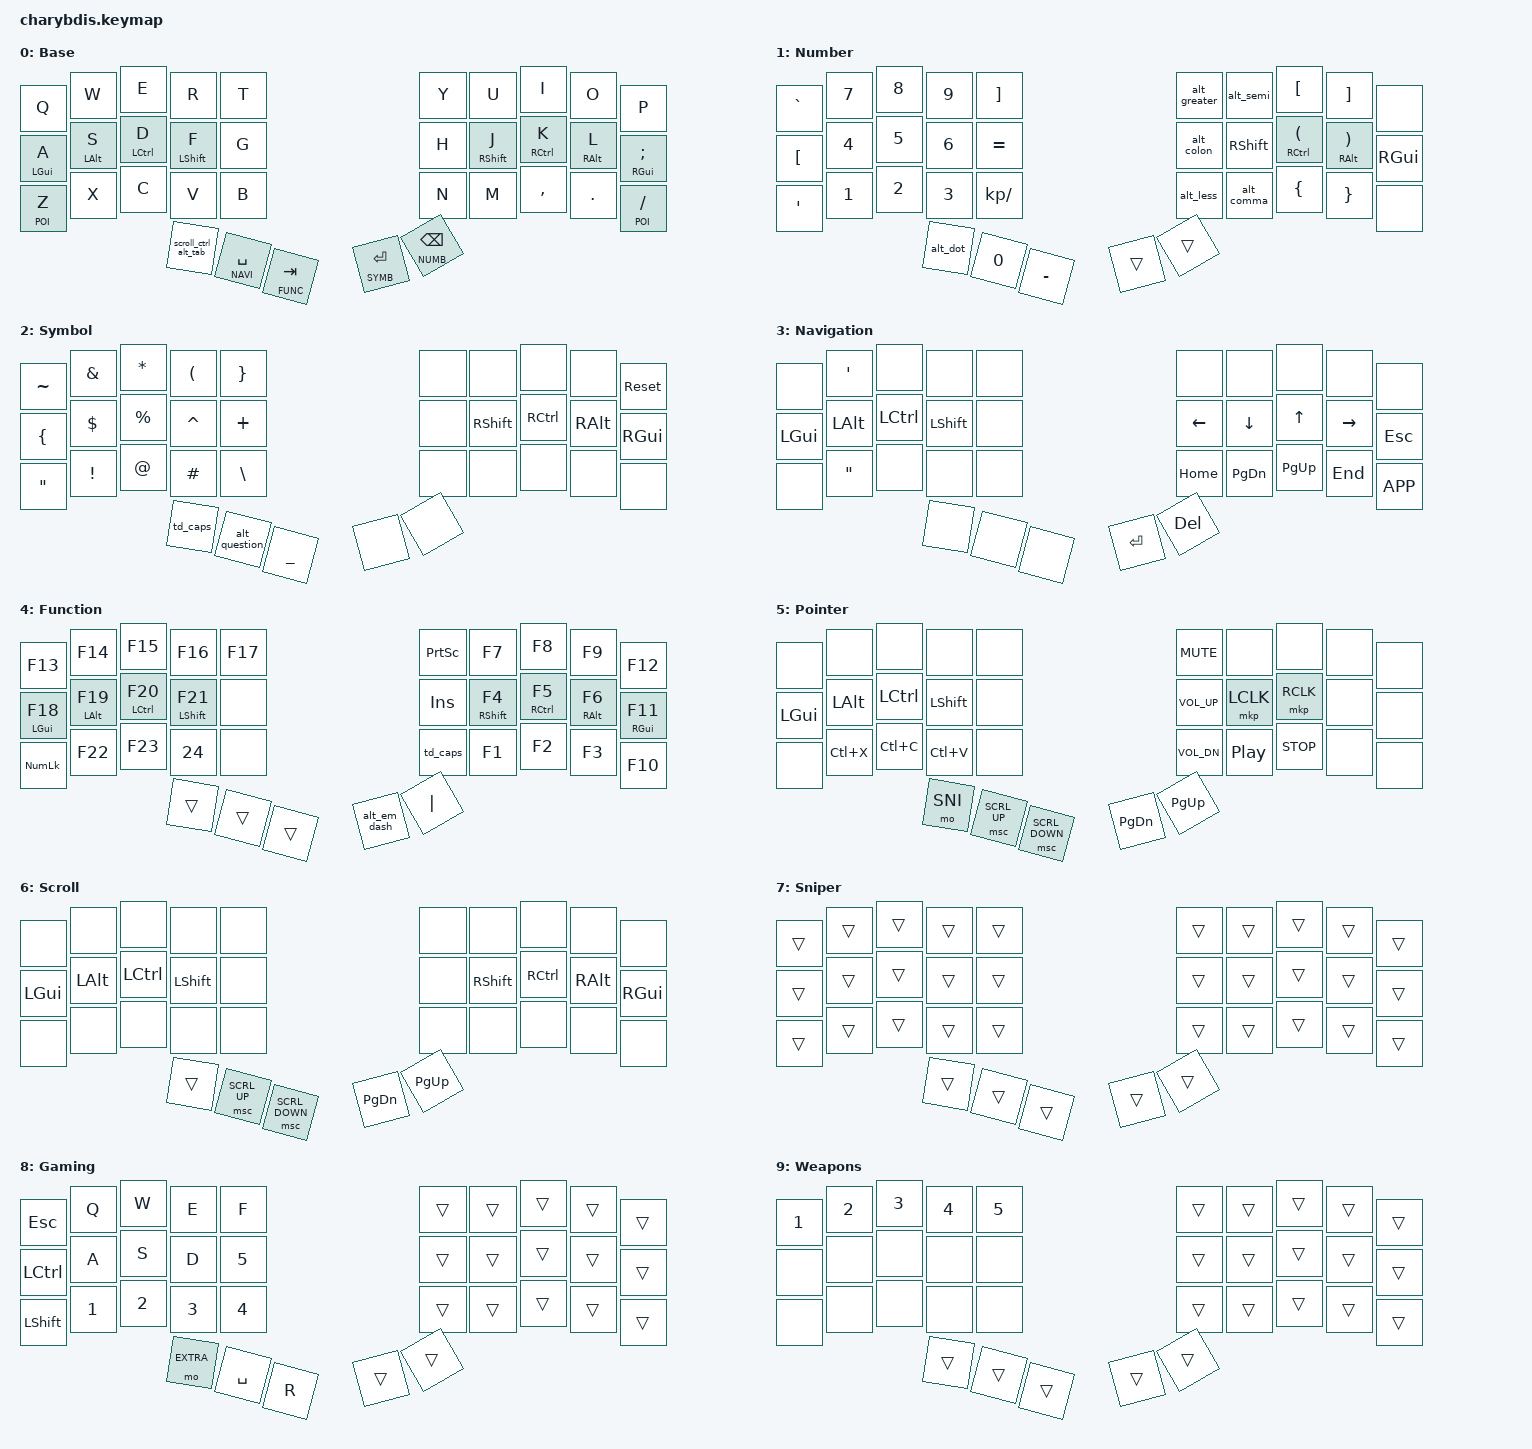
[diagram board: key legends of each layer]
#include <dt-bindings/zmk/mouse.h>
#include <behaviors/mouse_keys.dtsi>
#include <behaviors.dtsi>
#include <dt-bindings/zmk/bt.h>
#include <dt-bindings/zmk/keys.h>
#include <dt-bindings/zmk/outputs.h>
#include <dt-bindings/zmk/mouse.h>
#include <behaviors/mouse_keys.dtsi>
#include <behaviors.dtsi>
#include <dt-bindings/zmk/bt.h>
#include <dt-bindings/zmk/keys.h>
#include <dt-bindings/zmk/outputs.h>
#include <dt-bindings/zmk/pointing.h>

/ {
    chosen { zmk,physical-layout = &charybdis_5col_layout; };
};

&mt {
    quick-tap-ms = <200>;
    flavor = "tap-preferred";
    tapping-term-ms = <150>;
};

&lt {
    quick-tap-ms = <200>;
    flavor = "tap-preferred";
    tapping-term-ms = <150>;
};

// Layer definitions
#define BASE 0
#define NUMB 1
#define SYMB 2
#define NAVI 3
#define FUNC 4
#define POI  5
#define SCR  6
#define SNI  7
#define GAME  8
#define EXTRA 9

/ {
  macros {
    ctrl_cmd_hold: ctrl_cmd_hold {
      compatible = "zmk,behavior-macro";
      wait-ms = <0>;
      tap-ms = <10>;
      #binding-cells = <0>;
      bindings
        = <&macro_press &kp LCTRL &kp LGUI &mkp LCLK>
        , <&macro_pause_for_release>
        , <&macro_release &mkp LCLK &kp LCTRL &kp LGUI>
        ;
    };

    alt_dot: alt_dot {
      compatible = "zmk,behavior-macro";
      #binding-cells = <0>;
      wait-ms = <30>;
      tap-ms = <10>;
      bindings
        = <&macro_press &kp LALT>
        , <&macro_tap &kp KP_N0 &kp KP_N0 &kp KP_N4 &kp KP_N6>
        , <&macro_release &kp LALT>
        ;
    };

    alt_bslh: alt_bslh {
      compatible = "zmk,behavior-macro";
      #binding-cells = <0>;
      wait-ms = <30>;
      tap-ms = <10>;
      bindings
        = <&macro_press &kp LALT>
        , <&macro_tap &kp KP_N0 &kp KP_N0 &kp KP_N9 &kp KP_N2>
        , <&macro_release &kp LALT>
        ;
    };

    alt_colon: alt_colon {
      compatible = "zmk,behavior-macro";
      #binding-cells = <0>;
      wait-ms = <30>;
      tap-ms = <10>;
      bindings
        = <&macro_press &kp LALT>
        , <&macro_tap &kp KP_N0 &kp KP_N0 &kp KP_N5 &kp KP_N8>
        , <&macro_release &kp LALT>
        ;
    };

    alt_semi: alt_semi {
      compatible = "zmk,behavior-macro";
      #binding-cells = <0>;
      wait-ms = <30>;
      tap-ms = <10>;
      bindings
        = <&macro_press &kp LALT>
        , <&macro_tap &kp KP_N0 &kp KP_N0 &kp KP_N5 &kp KP_N9>
        , <&macro_release &kp LALT>
        ;
    };
alt_comma: alt_comma {
    compatible = "zmk,behavior-macro";
    #binding-cells = <0>;
    wait-ms = <30>;
    tap-ms = <10>;
    bindings
        = <&macro_press &kp LALT>
        , <&macro_tap &kp KP_N0 &kp KP_N0 &kp KP_N4 &kp KP_N4>
        , <&macro_release &kp LALT>
        ;
};


alt_quote: alt_quote {
    compatible = "zmk,behavior-macro";
    #binding-cells = <0>;
    wait-ms = <30>;
    tap-ms = <10>;
    bindings
        = <&macro_press &kp LALT>
        , <&macro_tap &kp KP_N3 &kp KP_N4>
        , <&macro_release &kp LALT>
        ;
};

alt_laquo: alt_laquo {
    compatible = "zmk,behavior-macro";
    #binding-cells = <0>;
    wait-ms = <30>;
    tap-ms = <10>;
    bindings
        = <&macro_press &kp LALT>
        , <&macro_tap &kp KP_N0 &kp KP_N1 &kp KP_N7 &kp KP_N1>
        , <&macro_release &kp LALT>
        ;
};

alt_raquo: alt_raquo {
    compatible = "zmk,behavior-macro";
    #binding-cells = <0>;
    wait-ms = <30>;
    tap-ms = <10>;
    bindings
        = <&macro_press &kp LALT>
        , <&macro_tap &kp KP_N0 &kp KP_N1 &kp KP_N8 &kp KP_N7>
        , <&macro_release &kp LALT>
        ;
};

alt_question: alt_question {
    compatible = "zmk,behavior-macro";
    #binding-cells = <0>;
    wait-ms = <30>;
    tap-ms = <10>;
    bindings
        = <&macro_press &kp LALT>
        , <&macro_tap &kp KP_N0 &kp KP_N0 &kp KP_N6 &kp KP_N3>
        , <&macro_release &kp LALT>
        ;
};

alt_doublequote: alt_doublequote {
    compatible = "zmk,behavior-macro";
    #binding-cells = <0>;
    wait-ms = <30>;
    tap-ms = <10>;
    bindings
        = <&macro_press &kp LALT>
        , <&macro_tap &kp KP_N0 &kp KP_N0 &kp KP_N3 &kp KP_N4>
        , <&macro_release &kp LALT>
        ;
};

alt_less: alt_less {
    compatible = "zmk,behavior-macro";
    #binding-cells = <0>;
    wait-ms = <30>;
    tap-ms = <10>;
    bindings
        = <&macro_press &kp LALT>
        , <&macro_tap &kp KP_N0 &kp KP_N0 &kp KP_N6 &kp KP_N0>
        , <&macro_release &kp LALT>
        ;
};

alt_greater: alt_greater {
    compatible = "zmk,behavior-macro";
    #binding-cells = <0>;
    wait-ms = <30>;
    tap-ms = <10>;
    bindings
        = <&macro_press &kp LALT>
        , <&macro_tap &kp KP_N0 &kp KP_N0 &kp KP_N6 &kp KP_N2>
        , <&macro_release &kp LALT>
        ;
};

    apostrophe: apostrophe {
     compatible = "zmk,behavior-macro";
     #binding-cells = <0>;
     wait-ms = <30>;
     tap-ms = <10>;
     bindings
         = <&macro_press &kp LALT>
         , <&macro_tap &kp KP_N3 &kp KP_N9>
         , <&macro_release &kp LALT>
         ;
 };
    alt_em_dash: alt_em_dash {
      compatible = "zmk,behavior-macro";
      #binding-cells = <0>;
      wait-ms = <30>;
      tap-ms = <10>;
      bindings
          = <&macro_press &kp LALT>
          , <&macro_tap &kp KP_N0 &kp KP_N1 &kp KP_N5 &kp KP_N1>
          , <&macro_release &kp LALT>
          ;
};
};

 behaviors {
    blt: blt {
      compatible = "zmk,behavior-hold-tap";
      #binding-cells = <2>;
      flavor = "tap-preferred";
      tapping-term-ms = <150>;
      quick-tap-ms = <300>;
      require-prior-idle-ms = <100>;
      bindings = <&mo>, <&kp>;
    };

    gui_ctrlb: gui_ctrlb {
      compatible = "zmk,behavior-tap-dance";
      #binding-cells = <0>;
      tapping-term-ms = <200>;
      bindings = <&kp LGUI>, <&kp LC(B)>;
    };

    lalt_dt: lalt_dt {
      compatible = "zmk,behavior-tap-dance";
      #binding-cells = <0>;
      tapping-term-ms = <200>;
      bindings = <&kp LALT>, <&kp LC(LS(Z))>;
    };

    // Home row mods - Left hand
    hml: home_row_mod_left {
      compatible = "zmk,behavior-hold-tap";
      #binding-cells = <2>;
      flavor = "tap-preferred";
      require-prior-idle-ms = <150>;
      tapping-term-ms = <150>;
      quick-tap-ms = <175>;
      bindings = <&kp>, <&kp>;
      hold-trigger-key-positions = <5 6 7 8 9 15 16 17 18 19 25 26 27 28 29 33 34>;
      hold-trigger-on-release;
    };

    // Home row mods - Right hand
    hmr: home_row_mod_right {
      compatible = "zmk,behavior-hold-tap";
      #binding-cells = <2>;
      flavor = "tap-preferred";
      require-prior-idle-ms = <150>;
      tapping-term-ms = <150>;
      quick-tap-ms = <175>;
      bindings = <&kp>, <&kp>;
      hold-trigger-key-positions = <0 1 2 3 4 10 11 12 13 14 20 21 22 23 24 30 31 32>;
      hold-trigger-on-release;
    };

    mo_tog: mo_tog {
      compatible = "zmk,behavior-hold-tap";
      #binding-cells = <2>;
      flavor = "tap-preferred";
      tapping-term-ms = <150>;
      bindings = <&mo>, <&tog>;
    };

 scroll_ctrl_alt_tab: scroll_ctrl_alt_tab {
  compatible = "zmk,behavior-mod-morph";
  #binding-cells = <0>;
  bindings = <&mo_tog SCR SCR>, <&kp LS(TAB)>;
  mods = <(MOD_LCTL|MOD_RCTL|MOD_LALT|MOD_RALT)>;
  keep-mods = <(MOD_LCTL|MOD_RCTL|MOD_LALT|MOD_RALT)>;
};

td_caps: tap_dance_caps {
            compatible = "zmk,behavior-tap-dance";
            #binding-cells = <0>;
            tapping-term-ms = <200>;
            bindings = <&kp CAPS>, <&caps_word>;
        };

 };
   
   combos {
    compatible = "zmk,combos";
    timeout-ms = <20>;
    require-prior-idle-ms = <250>;

    combo_l_clk {
      key-positions = <11 12>;
      bindings = <&mkp LCLK>;
      layers = <BASE>;
    };

    combo_r_clk {
      key-positions = <21 22>;
      bindings = <&mkp RCLK>;
      layers = <BASE>;
    };


    combo_new_window {
      key-positions = <7 8>;
      bindings = <&kp LG(E)>;
      layers = <BASE SCR>;
    };

    combo_close_1 {
      key-positions = <20 21>;
      bindings = <&kp LA(F4)>;
      layers = <BASE NAVI>;
    };

    combo_close_2 {
      key-positions = <28 29>;
      bindings = <&kp LA(F4)>;
      layers = <BASE NAVI>;
    };

    combo_back {
      key-positions = <17 18>;
      bindings = <&kp LA(LEFT)>;
      layers = <NAVI>;
    };

    combo_up_folder {
      key-positions = <27 28>;
      bindings = <&kp LA(UP)>;
      layers = <NAVI>;
    };


    combo_unlock {
      key-positions = <0 4>;
      bindings = <&studio_unlock>;
      layers = <BASE>;
    };

    combo_del {
      key-positions = <23 24>;
      bindings = <&kp DEL>;
      layers = <BASE>;
    };

    combo_alt_doublequote {
      key-positions = <27 28>;
      bindings = <&alt_doublequote>;
      layers = <BASE>;
    };

    combo_apostrophe {
      key-positions = <1 2>;
      bindings = <&apostrophe>;
      layers = <BASE>;
    };

    combo_languge {
      key-positions = <13 16>;
      bindings = <&kp LG(SPACE)>;
      layers = <BASE>;
      require-prior-idle-ms = <250>;
    };

    combo_esc {
       timeout-ms = <40>;
       key-positions = <23 24>;
       bindings = <&kp ESC>;
       layers = <GAME>;           
    };

     combo_f5 {
         timeout-ms = <40>;
         key-positions = <1 2>;
         bindings = <&kp F5>;
         layers = <GAME>;          
     };

     combo_f6 {
         timeout-ms = <40>;
         key-positions = <21 22>;
         bindings = <&kp F6>;
         layers = <GAME>;     
      };

 combo_game_on {
        timeout-ms = <40>;
        key-positions = <0 4>;
        bindings = <&tog GAME>;
        layers = <NUMB>;
    };

    combo_game_off {
        timeout-ms = <40>;
        key-positions = <0 4>;
        bindings = <&to BASE>;
        layers = <GAME>;
    };

  };

  keymap {
    compatible = "zmk,keymap";

// ╭─────────────┬─────────────┬─────────────┬─────────────┬─────────────╮   ╭─────────────┬─────────────┬─────────────┬─────────────┬─────────────╮
//    0             1             2             3             4                 5             6             7             8             9
// ├─────────────┼─────────────┼─────────────┼─────────────┼─────────────┤   ├─────────────┼─────────────┼─────────────┼─────────────┼─────────────┤
//   10            11            12            13            14                15            16            17            18            19
// ├─────────────┼─────────────┼─────────────┼─────────────┼─────────────┤   ├─────────────┼─────────────┼─────────────┼─────────────┼─────────────┤
//   20            21            22            23            24                25            26            27            28            29
// ╰─────────────┴─────────────┴─────────────┴─────────────┴─────────────╯   ╰─────────────┴─────────────┴─────────────┴─────────────┴─────────────╯
//                              ╭─────────────┬─────────────┬─────────────╮   ╭─────────────┬─────────────╮
//                                30            31            32                33            34
//                              ╰─────────────┴─────────────┴─────────────╯   ╰─────────────┴─────────────╯

    base_layer {
      label = "BASE";
      display-name = "Base";
      bindings = <
// ╭─────────────┬─────────────┬─────────────┬─────────────┬─────────────╮   ╭─────────────┬─────────────┬─────────────┬─────────────┬─────────────╮
    &kp Q         &kp W         &kp E         &kp R         &kp T             &kp Y         &kp U         &kp I         &kp O         &kp P
// ├─────────────┼─────────────┼─────────────┼─────────────┼─────────────┤   ├─────────────┼─────────────┼─────────────┼─────────────┼─────────────┤
    &hml LGUI A   &hml LALT S   &hml LCTRL D  &hml LSHFT F  &kp G             &kp H         &hmr RSHFT J  &hmr RCTRL K  &hmr RALT L   &hmr RGUI SEMI
// ├─────────────┼─────────────┼─────────────┼─────────────┼─────────────┤   ├─────────────┼─────────────┼─────────────┼─────────────┼─────────────┤
    &lt POI Z     &kp X         &kp C         &kp V         &kp B             &kp N         &kp M         &kp COMMA     &kp DOT       &lt POI FSLH
// ╰─────────────┴─────────────┴─────────────┴─────────────┴─────────────╯   ╰─────────────┴─────────────┴─────────────┴─────────────┴─────────────╯
//                              ╭─────────────┬─────────────┬─────────────╮   ╭─────────────┬─────────────╮
                           &scroll_ctrl_alt_tab &lt NAVI SPACE &lt FUNC TAB     &lt SYMB ENTER &lt NUMB BSPC
//                              ╰─────────────┴─────────────┴─────────────╯   ╰─────────────┴─────────────╯
      >;
    };

    number_layer {
      label = "NUMB";
      display-name = "Number";
      bindings = <
// ╭─────────────┬─────────────┬─────────────┬─────────────┬─────────────╮   ╭─────────────┬─────────────┬─────────────┬─────────────┬─────────────╮ 
    &kp GRAVE     &kp N7        &kp N8        &kp N9        &kp RBKT          &alt_greater  &alt_semi    &kp LBKT      &kp RBKT      &none
// ├─────────────┼─────────────┼─────────────┼─────────────┼─────────────┤   ├─────────────┼─────────────┼─────────────┼─────────────┼─────────────┤
    &kp LBKT      &kp N4        &kp N5        &kp N6        &kp EQUAL         &alt_colon    &kp RSHFT    &hmr RCTRL LPAR &hmr RALT RPAR  &kp RGUI
// ├─────────────┼─────────────┼─────────────┼─────────────┼─────────────┤   ├─────────────┼─────────────┼─────────────┼─────────────┼─────────────┤
    &kp APOS      &kp N1        &kp N2        &kp N3        &kp KP_DIVIDE     &alt_less     &alt_comma   &kp LBRC      &kp RBRC      &none
// ╰─────────────┴─────────────┴─────────────┴─────────────┴─────────────╯   ╰─────────────┴─────────────┴─────────────┴─────────────┴─────────────╯
//                              ╭─────────────┬─────────────┬─────────────╮   ╭─────────────┬─────────────╮
                                 &alt_dot      &kp N0        &kp MINUS         &trans        &trans
//                              ╰─────────────┴─────────────┴─────────────╯   ╰─────────────┴─────────────╯
      >;
    };

    symbol_layer {
      label = "SYMB";
      display-name = "Symbol";
      bindings = <
// ╭─────────────┬─────────────┬─────────────┬─────────────┬─────────────╮   ╭─────────────┬─────────────┬─────────────┬─────────────┬─────────────╮
    &kp TILDE     &kp AMPS      &kp ASTRK     &kp LPAR      &kp RBRC          &none         &none         &none         &none         &sys_reset
// ├─────────────┼─────────────┼─────────────┼─────────────┼─────────────┤   ├─────────────┼─────────────┼─────────────┼─────────────┼─────────────┤
    &kp LBRC      &kp DLLR      &kp PRCNT     &kp CARET     &kp PLUS          &none         &kp RSHFT     &kp RCTRL     &kp RALT      &kp RGUI
// ├─────────────┼─────────────┼─────────────┼─────────────┼─────────────┤   ├─────────────┼─────────────┼─────────────┼─────────────┼─────────────┤
    &kp DQT       &kp EXCL      &kp AT        &kp HASH      &kp BSLH          &none         &none         &none         &none         &none
// ╰─────────────┴─────────────┴─────────────┴─────────────┴─────────────╯   ╰─────────────┴─────────────┴─────────────┴─────────────┴─────────────╯
//                              ╭─────────────┬─────────────┬─────────────╮   ╭─────────────┬─────────────╮
                                 &td_caps     &alt_question   &kp UNDER       &none         &none
//                              ╰─────────────┴─────────────┴─────────────╯   ╰─────────────┴─────────────╯
      >;
    };

    navigation_layer {
      label = "NAVI";
      display-name = "Navigation";
      bindings = <
// ╭─────────────┬─────────────┬─────────────┬─────────────┬─────────────╮   ╭─────────────┬─────────────┬─────────────┬─────────────┬─────────────╮
     &none        &kp APOS      &none         &none          &none            &none         &none         &none         &none         &none
// ├─────────────┼─────────────┼─────────────┼─────────────┼─────────────┤   ├─────────────┼─────────────┼─────────────┼─────────────┼─────────────┤
    &kp LGUI      &kp LALT      &kp LCTRL     &kp LSHIFT    &none             &kp LEFT      &kp DOWN      &kp UP        &kp RIGHT     &kp ESC
// ├─────────────┼─────────────┼─────────────┼─────────────┼─────────────┤   ├─────────────┼─────────────┼─────────────┼─────────────┼─────────────┤
     &none        &kp DQT       &none         &none          &none            &kp HOME      &kp PG_DN     &kp PG_UP     &kp END       &kp K_APP
// ╰─────────────┴─────────────┴─────────────┴─────────────┴─────────────╯   ╰─────────────┴─────────────┴─────────────┴─────────────┴─────────────╯
//                             ╭─────────────┬─────────────┬─────────────╮   ╭─────────────┬─────────────╮
                                &none         &none         &none             &kp ENTER     &kp DEL
//                             ╰─────────────┴─────────────┴─────────────╯   ╰─────────────┴─────────────╯
      >;
    };

    function_layer {
      label = "FUNC";
      display-name = "Function";
      bindings = <
// ╭─────────────┬─────────────┬─────────────┬─────────────┬─────────────╮   ╭─────────────┬─────────────┬─────────────┬─────────────┬─────────────╮
    &kp F13       &kp F14       &kp F15       &kp F16       &kp F17           &kp PSCRN     &kp F7        &kp F8        &kp F9        &kp F12
// ├─────────────┼─────────────┼─────────────┼─────────────┼─────────────┤   ├─────────────┼─────────────┼─────────────┼─────────────┼─────────────┤
    &hml LGUI F18  &hml LALT F19  &hml LCTRL F20 &hml LSHFT F21  &none        &kp INS       &hmr RSHFT F4 &hmr RCTRL F5  &hmr RALT F6   &hmr RGUI F11
 //├─────────────┼─────────────┼─────────────┼─────────────┼─────────────┤   ├─────────────┼─────────────┼─────────────┼─────────────┼─────────────┤
    &kp KP_NUM       &kp F22      &kp F23       &kp 24        &none           &td_caps       &kp F1        &kp F2        &kp F3        &kp F10
// ╰─────────────┴─────────────┴─────────────┴─────────────┴─────────────╯   ╰─────────────┴─────────────┴─────────────┴─────────────┴─────────────╯
//                              ╭─────────────┬─────────────┬─────────────╮   ╭─────────────┬─────────────╮
                                 &trans        &trans        &trans            &alt_em_dash  &kp PIPE
//                              ╰─────────────┴─────────────┴─────────────╯   ╰─────────────┴─────────────╯
      >;
    };

    pointer_layer {
      label = "POINTER";
      display-name = "Pointer";
      bindings = <
// ╭─────────────┬─────────────┬─────────────┬─────────────┬─────────────╮   ╭─────────────┬─────────────┬─────────────┬─────────────┬─────────────╮
    &none         &none         &none         &none         &none             &kp C_MUTE    &none         &none         &none         &none
// ├─────────────┼─────────────┼─────────────┼─────────────┼─────────────┤   ├─────────────┼─────────────┼─────────────┼─────────────┼─────────────┤
    &kp LGUI      &kp LALT      &kp LCTRL     &kp LSHFT     &none             &kp C_VOL_UP  &mkp LCLK     &mkp RCLK     &none         &none
// ├─────────────┼─────────────┼─────────────┼─────────────┼─────────────┤   ├─────────────┼─────────────┼─────────────┼─────────────┼─────────────┤
    &none         &kp LC(X)     &kp LC(C)     &kp LC(V)     &none             &kp C_VOL_DN   &kp C_PP      &kp C_STOP    &none         &none
// ╰─────────────┴─────────────┴─────────────┴─────────────┴─────────────╯   ╰─────────────┴─────────────┴─────────────┴─────────────┴─────────────╯
//                              ╭─────────────┬─────────────┬─────────────╮   ╭─────────────┬─────────────╮
                                 &mo SNI       &msc SCRL_UP   &msc SCRL_DOWN     &kp PG_DN     &kp PG_UP    
//                              ╰─────────────┴─────────────┴─────────────╯   ╰─────────────┴─────────────╯
      >;
    };

    scroll_layer {
      label = "SCR";
      display-name = "Scroll";
      bindings = <
// ╭─────────────┬─────────────┬─────────────┬─────────────┬─────────────╮   ╭─────────────┬─────────────┬─────────────┬─────────────┬─────────────╮
    &none         &none         &none         &none         &none             &none         &none         &none         &none         &none 
// ├─────────────┼─────────────┼─────────────┼─────────────┼─────────────┤   ├─────────────┼─────────────┼─────────────┼─────────────┼─────────────┤
    &kp LGUI      &kp LALT      &kp LCTRL     &kp LSHFT     &none             &none         &kp RSHFT     &kp RCTRL     &kp RALT      &kp RGUI
// ├─────────────┼─────────────┼─────────────┼─────────────┼─────────────┤   ├─────────────┼─────────────┼─────────────┼─────────────┼─────────────┤
    &none         &none         &none         &none         &none             &none         &none         &none         &none         &none  
// ╰─────────────┴─────────────┴─────────────┴─────────────┴─────────────╯   ╰─────────────┴─────────────┴─────────────┴─────────────┴─────────────╯
//                              ╭─────────────┬─────────────┬─────────────╮   ╭─────────────┬─────────────╮
                                 &trans       &msc SCRL_UP  &msc SCRL_DOWN     &kp PG_DN     &kp PG_UP 
//                              ╰─────────────┴─────────────┴─────────────╯   ╰─────────────┴─────────────╯
      >;
    };

    sniper_layer {
      label = "SNI";
      display-name = "Sniper";
      bindings = <
// ╭─────────────┬─────────────┬─────────────┬─────────────┬─────────────╮   ╭─────────────┬─────────────┬─────────────┬─────────────┬─────────────╮
    &trans        &trans        &trans        &trans        &trans            &trans        &trans        &trans        &trans        &trans
// ├─────────────┼─────────────┼─────────────┼─────────────┼─────────────┤   ├─────────────┼─────────────┼─────────────┼─────────────┼─────────────┤
    &trans        &trans        &trans        &trans        &trans            &trans        &trans        &trans        &trans        &trans
// ├─────────────┼─────────────┼─────────────┼─────────────┼─────────────┤   ├─────────────┼─────────────┼─────────────┼─────────────┼─────────────┤
    &trans        &trans        &trans        &trans        &trans            &trans        &trans        &trans        &trans        &trans
// ╰─────────────┴─────────────┴─────────────┴─────────────┴─────────────╯   ╰─────────────┴─────────────┴─────────────┴─────────────┴─────────────╯
//                              ╭─────────────┬─────────────┬─────────────╮   ╭─────────────┬─────────────╮
                                 &trans        &trans        &trans            &trans        &trans
//                              ╰─────────────┴─────────────┴─────────────╯   ╰─────────────┴─────────────╯
      >;
    };

    gaming_base_layer {
      label = "GAME";
      display-name = "Gaming";
      bindings = <
// ╭─────────────┬─────────────┬─────────────┬─────────────┬─────────────╮   ╭─────────────┬─────────────┬─────────────┬─────────────┬─────────────╮ 
    &kp ESC       &kp Q         &kp W         &kp E         &kp F             &trans        &trans        &trans        &trans        &trans       
// ├─────────────┼─────────────┼─────────────┼─────────────┼─────────────┤   ├─────────────┼─────────────┼─────────────┼─────────────┼─────────────┤
    &kp LCTRL       &kp A         &kp S        &kp D       &kp N5           &trans        &trans        &trans        &trans        &trans       
// ├─────────────┼─────────────┼─────────────┼─────────────┼─────────────┤   ├─────────────┼─────────────┼─────────────┼─────────────┼─────────────┤
    &kp LSHIFT    &kp N1        &kp N2         &kp N3       &kp N4             &trans        &trans        &trans        &trans        &trans       
// ╰─────────────┴─────────────┴─────────────┴─────────────┴─────────────╯   ╰─────────────┴─────────────┴─────────────┴─────────────┴─────────────╯
//                              ╭─────────────┬─────────────┬─────────────╮   ╭─────────────┬─────────────╮
                                 &mo  EXTRA     &kp SPACE     &kp R              &trans        &trans        
//                              ╰─────────────┴─────────────┴─────────────╯   ╰─────────────┴─────────────╯
      >;
    };

    gaming_weapon_layer {
      label = "EXTRA";
      display-name = "Weapons";
      bindings = <
// ╭─────────────┬─────────────┬─────────────┬─────────────┬─────────────╮   ╭─────────────┬─────────────┬─────────────┬─────────────┬─────────────╮ 
    &kp N1        &kp N2        &kp N3        &kp N4        &kp N5            &trans        &trans        &trans        &trans        &trans       
// ├─────────────┼─────────────┼─────────────┼─────────────┼─────────────┤   ├─────────────┼─────────────┼─────────────┼─────────────┼─────────────┤
    &none         &none         &none         &none         &none             &trans        &trans        &trans        &trans        &trans       
// ├─────────────┼─────────────┼─────────────┼─────────────┼─────────────┤   ├─────────────┼─────────────┼─────────────┼─────────────┼─────────────┤
    &none         &none         &none         &none         &none             &trans        &trans        &trans        &trans        &trans       
// ╰─────────────┴─────────────┴─────────────┴─────────────┴─────────────╯   ╰─────────────┴─────────────┴─────────────┴─────────────┴─────────────╯
//                              ╭─────────────┬─────────────┬─────────────╮   ╭─────────────┬─────────────╮
                                 &trans        &trans        &trans            &trans        &trans        
//                              ╰─────────────┴─────────────┴─────────────╯   ╰─────────────┴─────────────╯
      >;
    };


  };
};
